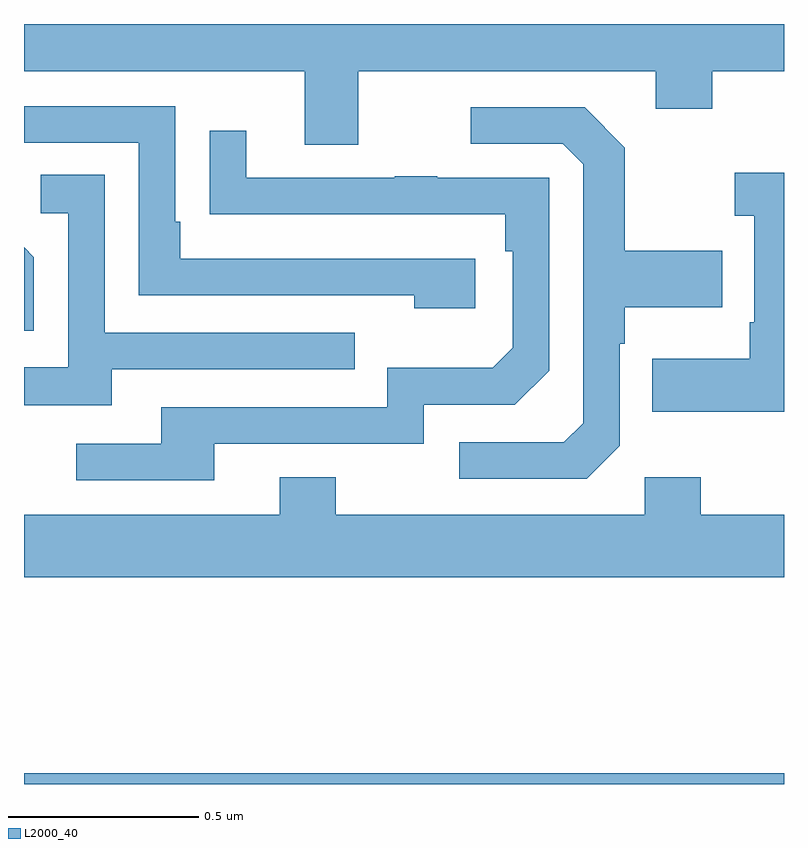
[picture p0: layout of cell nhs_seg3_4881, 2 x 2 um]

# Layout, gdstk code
import gdstk
lib = gdstk.Library(unit=1e-6, precision=1e-09)
def R(c, l, rs):  # rectangles x0, y0, x1, y1
    for r in rs: c.add(gdstk.rectangle(r[:2], r[2:], *l))
def P(c, l, *ps):  # polygons
    for p in ps: c.add(gdstk.Polygon(p, *l))
L2000_40 = (2000, 40)

nhs_seg3_4881 = lib.new_cell('nhs_seg3_4881')
R(nhs_seg3_4881, L2000_40, [(172,672.4,174,672.428)])
P(nhs_seg3_4881, L2000_40, [(172.879,674.276),(173.663,674.276),(173.663,674.177),(173.811,674.177),(173.811,674.276),(174,674.276),(174,674.4),(172,674.4),(172,674.276),(172.739,674.276),(172.739,674.082),(172.879,674.082)],
  [(173.188,673.782),(172.411,673.782),(172.411,673.879),(172.398,673.879),(172.398,674.184),(172,674.184),(172,674.088),(172.302,674.088),(172.302,673.686),(173.027,673.686),(173.027,673.652),(173.188,673.652)],
  [(173.568,673.29),(173.568,673.559),(173.581,673.559),(173.581,673.655),(173.837,673.655),(173.837,673.803),(173.581,673.803),(173.581,674.075),(173.475,674.181),(173.175,674.181),(173.175,674.085),(173.418,674.085),(173.472,674.031),(173.472,673.35),(173.421,673.299),(173.145,673.299),(173.145,673.203),(173.481,673.203)],
  [(172.501,673.296),(173.052,673.296),(173.052,673.398),(173.292,673.398),(173.382,673.488),(173.382,673.995),(173.087,673.995),(173.087,674),(172.975,674),(172.975,673.995),(172.585,673.995),(172.585,674.119),(172.489,674.119),(172.489,673.9),(172.591,673.9),(172.591,673.899),(173.266,673.899),(173.266,673.802),(173.286,673.802),(173.286,673.548),(173.233,673.495),(172.956,673.495),(172.956,673.392),(172.361,673.392),(172.361,673.296),(172.137,673.296),(172.137,673.2),(172.501,673.2)],
  [(174,674.008),(173.871,674.008),(173.871,673.895),(173.922,673.895),(173.922,673.615),(173.91,673.615),(173.91,673.519),(173.653,673.519),(173.653,673.379),(174,673.379)],
  [(172.231,673.491),(172.871,673.491),(172.871,673.587),(172.212,673.587),(172.212,674.003),(172.044,674.003),(172.044,673.902),(172.116,673.902),(172.116,673.497),(172,673.497),(172,673.397),(172.231,673.397)],
  [(172.026,673.786),(172,673.812),(172,673.593),(172.026,673.593)],
  [(174,673.108),(173.781,673.108),(173.781,673.207),(173.634,673.207),(173.634,673.108),(172.821,673.108),(172.821,673.207),(172.673,673.207),(172.673,673.108),(172,673.108),(172,672.944),(174,672.944)])

lib.write_gds('nhs_seg3_4881.gds')
